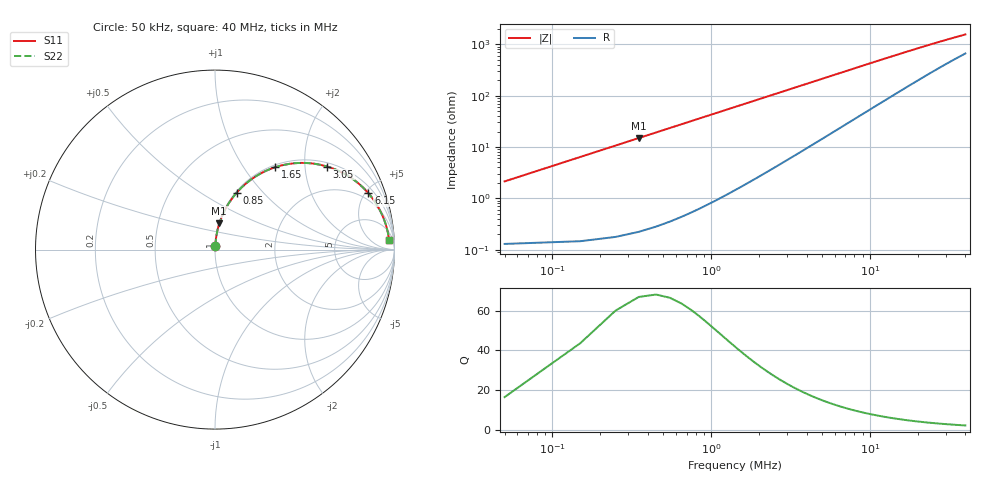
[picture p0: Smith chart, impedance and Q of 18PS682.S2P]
! Coilcraft 1812PS-682 Power Chip Inductor
! 1 October 2002
# MHZ S MA R 50
!Freq  MagS11  AngS11  MagS21  AngS21  MagS12  AngS12  MagS22  AngS22
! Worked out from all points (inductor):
!   401 points, 50 kHz to 40 MHz, reference 50 ohm
!   read as one part in series: L = 6.81 uH near 250 kHz
!   highest Q = 60.4 at 350 kHz (marker M1), where L = 6.81 uH
!   S11 on the Smith chart (normalised r, x): 50 kHz: 1.00, +0.04; 850 kHz: 1.01, +0.73; 1.65 MHz: 1.04, +1.41; 3.05 MHz: 1.11, +2.61; 6.15 MHz: 1.42, +5.23; 40 MHz: 14, +28
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0.05  0.02137 85.3  0.9985 -1.2  0.9985 -1.2  0.02137 85.3
0.15  0.06393 85.0  0.9965 -3.7  0.9965 -3.7  0.06393 85.0
0.35  0.1478 80.6  0.9868 -8.5  0.9868 -8.5  0.1478 80.6
0.45  0.1886 78.3  0.9793 -10.9  0.9793 -10.9  0.1886 78.3
0.55  0.2284 75.9  0.9701 -13.2  0.9701 -13.2  0.2284 75.9
0.65  0.267 73.6  0.9595 -15.5  0.9595 -15.5  0.267 73.6
0.85  0.3401 69.1  0.9345 -19.9  0.9345 -19.9  0.3401 69.1
1.05  0.407 64.9  0.9055 -24.0  0.9055 -24.0  0.407 64.9
1.25  0.4676 60.9  0.8738 -27.9  0.8738 -27.9  0.4676 60.9
1.65  0.5698 53.8  0.8067 -34.7  0.8067 -34.7  0.5698 53.8
2.25  0.6822 45.1  0.7084 -43.0  0.7084 -43.0  0.6822 45.1
3.05  0.7775 36.5  0.5959 -51.0  0.5959 -51.0  0.7775 36.5
3.65  0.8232 31.8  0.5274 -55.3  0.5274 -55.3  0.8232 31.8
4.35  0.8597 27.5  0.4623 -59.1  0.4623 -59.1  0.8597 27.5
6.15  0.9103 20.2  0.3468 -65.1  0.3468 -65.1  0.9103 20.2
6.75  0.9199 18.6  0.3195 -66.4  0.3195 -66.4  0.9199 18.6
9.75  0.946 13.1  0.2283 -69.9  0.2283 -69.9  0.946 13.1
13.45  0.9583 9.6  0.1687 -70.9  0.1687 -70.9  0.9583 9.6
20.05  0.9662 6.5  0.1158 -69.8  0.1158 -69.8  0.9662 6.5
26.75  0.9693 4.9  0.08886 -67.4  0.08886 -67.4  0.9693 4.9
33.35  0.9708 3.9  0.07311 -64.5  0.07311 -64.5  0.9708 3.9
40  0.9716 3.3  0.06272 -61.5  0.06272 -61.5  0.9716 3.3
